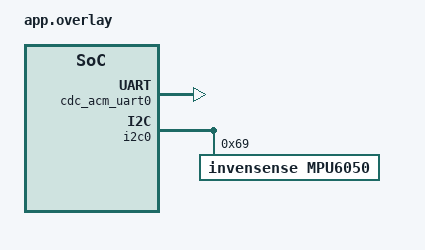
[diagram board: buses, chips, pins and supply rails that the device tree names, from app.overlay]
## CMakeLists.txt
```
cmake_minimum_required(VERSION 3.13.1)
set(CMAKE_CXX_STANDARD 11)
set(CMAKE_CXX_STANDARD_REQUIRED ON)


find_package(Zephyr REQUIRED HINTS $ENV{ZEPHYR_BASE})
project(wireless_wizard_wand VERSION 1.0.0)

zephyr_compile_options(-fdiagnostics-color=always)
include_directories(src/include)
target_sources(app PRIVATE src/main.cpp src/ei.cpp src/imu.cpp src/forwarder.cpp src/zigbee.c src/led_indication.c)

add_definitions(-DEIDSP_USE_CMSIS_DSP=1
                -DEIDSP_LOAD_CMSIS_DSP_SOURCES=1
                -DEI_CLASSIFIER_TFLITE_ENABLE_CMSIS_NN=1
                -DARM_MATH_LOOPUNROLL)

include(edge-impulse-sdk/cmake/utils.cmake)
add_subdirectory(edge-impulse-sdk/cmake/zephyr)

RECURSIVE_FIND_FILE_APPEND(MODEL_SOURCE "tflite-model" "*.cpp")
target_include_directories(app PRIVATE .)
target_include_directories(app PRIVATE src/include)
target_include_directories(app PRIVATE edge-impulse-sdk/classifier)

# add all sources to the project
target_sources(app PRIVATE ${MODEL_SOURCE})
```

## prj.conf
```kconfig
# Hardware
CONFIG_SENSOR=y
CONFIG_I2C=y
CONFIG_GPIO=y
# CONFIG_MPU6050_TRIGGER_NONE=n

# UART over USB
CONFIG_USB_DEVICE_STACK=y
CONFIG_USB_DEVICE_PRODUCT="Wireless Wizard Wand"
CONFIG_USB_DEVICE_PID=0x0004
CONFIG_USB_DEVICE_INITIALIZE_AT_BOOT=n

CONFIG_SERIAL=y
CONFIG_CONSOLE=y
CONFIG_UART_CONSOLE=y
CONFIG_UART_LINE_CTRL=y

# Logging
CONFIG_LOG=y
CONFIG_LOG_BACKEND_UART=y
CONFIG_FPU=y

# Edge impulse & CPP
CONFIG_CPLUSPLUS=y
CONFIG_LIB_CPLUSPLUS=y
CONFIG_NEWLIB_LIBC=y
CONFIG_NEWLIB_LIBC_FLOAT_PRINTF=y
CONFIG_MAIN_STACK_SIZE=8192
CONFIG_EXCEPTIONS=y

# Zigbee
CONFIG_ZIGBEE=y
CONFIG_ZIGBEE_APP_UTILS=y
CONFIG_ZIGBEE_ROLE_END_DEVICE=y
CONFIG_ZIGBEE_CHANNEL=20


# This example requires more workqueue stack
CONFIG_SYSTEM_WORKQUEUE_STACK_SIZE=2048

# Enable API for powering down unused RAM parts
CONFIG_RAM_POWER_DOWN_LIBRARY=y

# Networking
CONFIG_NET_IPV6=n
CONFIG_NET_IP_ADDR_CHECK=n
CONFIG_NET_UDP=n

# Enable nRF ECB driver
CONFIG_CRYPTO=y
CONFIG_CRYPTO_NRF_ECB=y
CONFIG_CRYPTO_INIT_PRIORITY=80
```

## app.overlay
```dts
/*
* Wireless Wizard Wand
*
* Configured for Adafruit Feather nRF52840 Express
*/

/ {
  chosen {
    zephyr,console = &cdc_acm_uart0;
  };
};

&zephyr_udc0 {
cdc_acm_uart0: cdc_acm_uart0 {
                 compatible = "zephyr,cdc-acm-uart";
               };
};

&i2c0 {
	status = "okay";
	mpu6050@69 {
		compatible = "invensense,mpu6050";
		reg = <0x69>;
		status = "okay";
		//int-gpios = <&gpio0 11 GPIO_ACTIVE_HIGH>;
	};
};
```

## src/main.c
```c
/*
 * Copyright (c) 2012-2014 Wind River Systems, Inc.
 *
 * SPDX-License-Identifier: Apache-2.0
 */

#include <zephyr/kernel.h>
#include <zephyr/usb/usb_device.h>
#include <zephyr/device.h>
#include <zephyr/drivers/sensor.h>

int main(void)
{
  usb_enable(NULL);
	const struct device *const dev = DEVICE_DT_GET_ONE(bosch_bmi270);
	struct sensor_value acc[3], gyr[3];
	struct sensor_value full_scale, sampling_freq, oversampling;

	if (!device_is_ready(dev)) {
		printk("Device %s is not ready\n", dev->name);
		return 0;
	}


	printk("Device %p name is %s%s\n", dev, dev->name,"\U00002705");

	/* Setting scale in G, due to loss of precision if the SI unit m/s^2
	 * is used
	 */
	full_scale.val1 = 2;            /* G */
	full_scale.val2 = 0;
	sampling_freq.val1 = 100;       /* Hz. Performance mode */
	sampling_freq.val2 = 0;
	oversampling.val1 = 1;          /* Normal mode */
	oversampling.val2 = 0;

	sensor_attr_set(dev, SENSOR_CHAN_ACCEL_XYZ, SENSOR_ATTR_FULL_SCALE,
			&full_scale);
	sensor_attr_set(dev, SENSOR_CHAN_ACCEL_XYZ, SENSOR_ATTR_OVERSAMPLING,
			&oversampling);
	/* Set sampling frequency last as this also sets the appropriate
	 * power mode. If already sampling, change to 0.0Hz before changing
	 * other attributes
	 */
	sensor_attr_set(dev, SENSOR_CHAN_ACCEL_XYZ,
			SENSOR_ATTR_SAMPLING_FREQUENCY,
			&sampling_freq);


	/* Setting scale in degrees/s to match the sensor scale */
	full_scale.val1 = 500;          /* dps */
	full_scale.val2 = 0;
	sampling_freq.val1 = 100;       /* Hz. Performance mode */
	sampling_freq.val2 = 0;
	oversampling.val1 = 1;          /* Normal mode */
	oversampling.val2 = 0;

	sensor_attr_set(dev, SENSOR_CHAN_GYRO_XYZ, SENSOR_ATTR_FULL_SCALE,
			&full_scale);
	sensor_attr_set(dev, SENSOR_CHAN_GYRO_XYZ, SENSOR_ATTR_OVERSAMPLING,
			&oversampling);
	/* Set sampling frequency last as this also sets the appropriate
	 * power mode. If already sampling, change sampling frequency to
	 * 0.0Hz before changing other attributes
	 */
	sensor_attr_set(dev, SENSOR_CHAN_GYRO_XYZ,
			SENSOR_ATTR_SAMPLING_FREQUENCY,
			&sampling_freq);
	while (1) {
		/* 10ms period, 100Hz Sampling frequency */
		k_sleep(K_MSEC(10));

		sensor_sample_fetch(dev);

		sensor_channel_get(dev, SENSOR_CHAN_ACCEL_XYZ, acc);
		sensor_channel_get(dev, SENSOR_CHAN_GYRO_XYZ, gyr);
		printk("\U0001F5FF AX: %d.%06d; AY: %d.%06d; AZ: %d.%06d;\n ",
		       acc[0].val1, acc[0].val2,
		       acc[1].val1, acc[1].val2,
		       acc[2].val1, acc[2].val2);
	}
	return 0;
}
```

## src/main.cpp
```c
#include <zephyr/kernel.h>
#include <zephyr/logging/log.h>
#include <zephyr/device.h>
#include <zephyr/drivers/sensor.h>
#include <zephyr/usb/usb_device.h>
#include "imu.h"
#include "ei.h"
#include "forwarder.h"
#include "zigbee.h"
#include "led_indication.h"

#define STARTUP_DELAY_MS 2000

LOG_MODULE_REGISTER(main, LOG_LEVEL_INF);

int main(void){
  usb_enable(NULL);
  k_sleep(K_MSEC(STARTUP_DELAY_MS));
  LOG_INF("Wireless Wizard Wand started on %s", CONFIG_BOARD);
  imu_init();
  k_zigbee();
	k_sleep(K_FOREVER);
}
```

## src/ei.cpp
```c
#include <zephyr/kernel.h>
#include <zephyr/usb/usb_device.h>
#include <zephyr/drivers/sensor.h>
#include <zephyr/logging/log.h>
#include <zephyr/sys/mutex.h>

#include <stdio.h>
#include <stdlib.h>
#include <stdbool.h>

#include "imu.h"
#include "zigbee.h"
#include "ei_run_classifier.h"
#include "ei.h"

#define SAMPLE_TIME_MINIMUM (((EI_CLASSIFIER_DSP_INPUT_FRAME_SIZE/IMU_AXIS_SAMPLED))*(TIME_BETWEEN_SAMPLES_US))
#define SAMPLING_TIME_LIMIT_US SAMPLE_TIME_MINIMUM*2

LOG_MODULE_REGISTER(edge_impulse, LOG_LEVEL_INF);
K_THREAD_DEFINE(ei_thread, EI_STACK_SIZE, k_ei,
                NULL, NULL, NULL,
                EI_THREAD_PRIORITY, 0, 0);
K_MUTEX_DEFINE(feature_buffer_mutex);

// to classify 1 frame of data you need EI_CLASSIFIER_DSP_INPUT_FRAME_SIZE values
struct FeatureBuffer {
  int index;
  bool is_full;
  float buffer[EI_CLASSIFIER_DSP_INPUT_FRAME_SIZE];
};

//Forward declarations
static void dummy_ei_result_cb(ei_impulse_result_t *result);
static void ei_event_handler(bool timeout, ei_impulse_result_t *result, FeatureBuffer *f_buff);
static bool ei_classify(FeatureBuffer *f_buff, ei_impulse_result_t *result);
static bool ei_sampling_timeout();
static void ei_log_predictions(ei_impulse_result_t *result);
static bool copy_to_features_buffer(float* sample, FeatureBuffer *f_buff);
static void clear_feature_buffer(FeatureBuffer *f_buff);


FeatureBuffer features = {0, false}; //Global shared buffer

//Chest variables

static int calm_circle_count = 0;
static int calm_wiper_count = 0;
static int detection_trigger_limit = 2;

int k_ei() {
  LOG_INF("Started Edge Impulse thread");
  while (1) {
    ei_impulse_result_t result = { 0 };
    clear_feature_buffer(&features);
    imu_start_sampling_w_ei(TIME_BETWEEN_SAMPLES_US);
    ei_event_handler(ei_sampling_timeout(), &result, &features);
  }
}

static void ei_event_handler(bool timeout, ei_impulse_result_t *result, FeatureBuffer *f_buff){
  if (!timeout && ei_classify(f_buff, result)){
    ei_log_predictions(result);
    dummy_ei_result_cb(result);
  }
}

static bool ei_sampling_timeout(){
  if(k_sleep(K_USEC(SAMPLING_TIME_LIMIT_US)) == 0){
    LOG_ERR("Sampling timed out");
    return true;
  }
  return false;
}

static void dummy_ei_result_cb(ei_impulse_result_t *result){
  LOG_DBG("WARNING: calling DUMMY MODULE, do not deploy.");
  if (result->classification[2].value > (float)0.99){
    calm_circle_count = 0;
    calm_wiper_count = 0;

  }
  if(result->classification[3].value > (float)0.99){
    calm_circle_count = 0;
    calm_wiper_count = 0;
  }
  if (result->classification[0].value > (float)0.99){
    calm_wiper_count = 0;
    calm_circle_count += 1;
    if (calm_circle_count >= detection_trigger_limit){
      send_light_on();
      calm_circle_count = 0;
    }
  }
  if(result->classification[1].value > (float)0.99){
    calm_circle_count = 0;
    calm_wiper_count += 1;
    if (calm_wiper_count >= detection_trigger_limit){
      send_light_off();
      calm_wiper_count = 0;
    }
  }

}

static bool ei_classify(FeatureBuffer *f_buff, ei_impulse_result_t *result){
  k_mutex_lock(&feature_buffer_mutex, K_FOREVER);
  // create signal from features frame
  signal_t signal;
  numpy::signal_from_buffer(f_buff->buffer, EI_CLASSIFIER_DSP_INPUT_FRAME_SIZE, &signal);
  EI_IMPULSE_ERROR res = run_classifier(&signal, result, false);
  LOG_DBG("run_classifier returned: %d\n", res);
  if(res != 0){
    LOG_ERR("run_classifier failed");
    k_mutex_unlock(&feature_buffer_mutex);
    return false;
  }
  k_mutex_unlock(&feature_buffer_mutex);
  return true;
}

static void ei_log_predictions(ei_impulse_result_t *result){
  LOG_DBG("Predictions (DSP: %d ms., Classification: %d ms., Anomaly: %d ms.): \n",
        result->timing.dsp, result->timing.classification, result->timing.anomaly);
  for (size_t ix = 0; ix < EI_CLASSIFIER_LABEL_COUNT; ix++) {
    LOG_DBG("%s:\t%.5f\n", result->classification[ix].label, result->classification[ix].value);
  }
  #if EI_CLASSIFIER_HAS_ANOMALY == 1
    LOG_INF("anomaly:\t%.3f\n", result->anomaly);
  #endif
}

bool ei_fill_feature_buffer_cb(float* sample){
  if (k_mutex_lock(&feature_buffer_mutex, K_MSEC(SHARED_BUFFER_MUTEX_TIMEOUT)) == 0){ //Avoid deadlock
    bool ret = copy_to_features_buffer(sample, &features);
    if(ret == true){
      LOG_DBG("Buffer full");
      k_wakeup(ei_thread);
    }
    k_mutex_unlock(&feature_buffer_mutex);
    return ret;
  } else {
    LOG_ERR("Cannot lock feature buffer mutex");
    return false; //Since buffer is not written to, buffer is not filled
  }
}

static bool copy_to_features_buffer(float* sample, FeatureBuffer *f_buff){
  if (f_buff->is_full){
    return true;
  }
  f_buff->buffer[f_buff->index + 0] = sample[0];
  f_buff->buffer[f_buff->index + 1] = sample[1];
  f_buff->buffer[f_buff->index + 2] = sample[2];

  f_buff->index += EI_CLASSIFIER_RAW_SAMPLES_PER_FRAME;

  if(f_buff->index >= EI_CLASSIFIER_DSP_INPUT_FRAME_SIZE){
    f_buff->is_full = true;
    return true; //Buffer is now full
  }
  return false; //Buffer is not full
}

//Clears the feature buffer for overwriting
static void clear_feature_buffer(FeatureBuffer *f_buff){
  f_buff->index = 0;
  f_buff->is_full = false;
}
```

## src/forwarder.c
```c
#include <zephyr/kernel.h>
#include <zephyr/logging/log.h>
#include <zephyr/drivers/sensor.h>
#include <stdio.h>
#include "imu.h"
#include "forwarder.h"

LOG_MODULE_REGISTER(data_forwarder, LOG_LEVEL_INF);

int k_forwarder(){
  LOG_DBG("Started Data Forwarder module");
  // No buffering
  setvbuf(stdout, NULL, _IONBF, 0);
  struct sensor_value imu_acceleration[3];
	while (1) {
		// Wait between samples
		struct k_timer next_val_timer;
    k_timer_init(&next_val_timer, NULL, NULL);
    k_timer_start(&next_val_timer, K_USEC(TIME_BETWEEN_SAMPLES_US), K_NO_WAIT);
    
    imu_get_acceleration(imu_acceleration);
		printf("%.6f\t%.6f\t%.6f\t\r\n ",
		        sensor_value_to_double(&imu_acceleration[0]),
		        sensor_value_to_double(&imu_acceleration[1]),
            sensor_value_to_double(&imu_acceleration[2]));
    //Wait
    while (k_timer_status_get(&next_val_timer) <= 0);
	}
	return 0;
}
```

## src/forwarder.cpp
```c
#include <zephyr/kernel.h>
#include <zephyr/logging/log.h>
#include <zephyr/drivers/sensor.h>
#include <stdio.h>
#include "imu.h"
#include "forwarder.h"

LOG_MODULE_REGISTER(data_forwarder, LOG_LEVEL_INF);

int k_forwarder(){
  LOG_DBG("Started Data Forwarder module");
  // No buffering
  setvbuf(stdout, NULL, _IONBF, 0);
  imu_start_sampling(TIME_BETWEEN_SAMPLES_US);    
  imu_set_printf_data(true);
  k_sleep(K_FOREVER);
  return 0;
}
```

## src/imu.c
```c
#include <zephyr/kernel.h>
#include <zephyr/drivers/sensor.h>
#include <zephyr/logging/log.h>
#include <stdio.h>
#include <imu.h>

LOG_MODULE_REGISTER(imu, LOG_LEVEL_INF);

static const struct device *imu_dev;

//Prototypes for readability
static void imu_configure();
static void imu_sample_accel();

//Get IMU acceleration
void imu_get_acceleration(struct sensor_value* value){ //May need error handling
  imu_sample_accel();
  sensor_channel_get(imu_dev, SENSOR_CHAN_ACCEL_XYZ, value);
}

//Update IMU acceleration sample
static void imu_sample_accel(){
  int err;
  err = sensor_sample_fetch(imu_dev);
  if(err < 0){
    LOG_ERR("BMI270 Sensor sample accelerometer update error\n");
  }
}

//Initialise IMU
void imu_init(){
    imu_dev = DEVICE_DT_GET_ONE(bosch_bmi270);
    if (imu_dev == NULL) {
        LOG_ERR("Could not get BMI270 device\n");
    }
    imu_configure();
    LOG_INF("IMU Initialized");
}

static void imu_configure(){
  struct sensor_value full_scale, imu_sampling_freq, oversampling;
  //Set sensor configuration
  full_scale.val1 = 2; //G
  full_scale.val2 = 0;
  imu_sampling_freq.val1 = SAMPLING_FREQ; //Hz
  imu_sampling_freq.val2 = 0;
  oversampling.val1 = 1; // BMI270: Normal Mode
  oversampling.val2 = 0;

  sensor_attr_set(imu_dev, SENSOR_CHAN_ACCEL_XYZ, SENSOR_ATTR_FULL_SCALE,
      &full_scale);
  sensor_attr_set(imu_dev, SENSOR_CHAN_ACCEL_XYZ, SENSOR_ATTR_OVERSAMPLING,
      &oversampling);
  //Set sampling frequency also sets power mode
  sensor_attr_set(imu_dev, SENSOR_CHAN_ACCEL_XYZ, SENSOR_ATTR_SAMPLING_FREQUENCY,
      &imu_sampling_freq);

}
```

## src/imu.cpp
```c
#include <zephyr/kernel.h>
#include <zephyr/drivers/sensor.h>
#include <zephyr/logging/log.h>
#include <stdio.h>
#include <stdbool.h>

#include "imu.h"
#include "ei.h"

LOG_MODULE_REGISTER(imu_sensor, LOG_LEVEL_INF);

static const struct device *imu_dev;
float imu_data[IMU_AXIS_SAMPLED];
static bool imu_is_init = IMU_DEFAULT_IS_INIT; 
static bool imu_is_printf_data = IMU_DEFAULT_IS_PRINTF_DATA;
static bool imu_is_buffering_to_ei = IMU_DEFAULT_BUFFER_TO_EI;

//Forward declarations
static bool imu_configure();
static bool imu_fetch_sample_accel();
static void imu_timer_handler(struct k_timer *dummy);
static void imu_work_handler(struct k_work *work);
static void imu_set_buffering_to_ei(bool state);
static void imu_buffer_to_ei_handler(void);
static void imu_printf_data(void);

K_TIMER_DEFINE(imu_timer, imu_timer_handler, NULL);
K_WORK_DEFINE(imu_work, imu_work_handler);

//Submit work to sample for each time period
static void imu_timer_handler(struct k_timer *dummy){
  k_work_submit(&imu_work);
}

static void imu_work_handler(struct k_work *work){
	if(imu_fetch_sample_accel() == false) { //Fetch sample
    imu_data[0] = 0.0f;
    imu_data[1] = 0.0f;
    imu_data[2] = 0.0f;
	}
  
  if (imu_is_buffering_to_ei) imu_buffer_to_ei_handler();
  if (imu_is_printf_data) imu_printf_data();
}

static void imu_buffer_to_ei_handler(){
  if (ei_fill_feature_buffer_cb(imu_data) == true){ //Pass imu_data to EI
    imu_set_buffering_to_ei(false);
    imu_stop_sampling();
  }
}

bool imu_start_sampling_w_ei(float timer_period_us){
  imu_set_buffering_to_ei(true);
  return imu_start_sampling(timer_period_us);
}



bool imu_start_sampling(float timer_period_us){
  //Start timer with given period and expire on given period
  k_timer_start(&imu_timer, K_USEC(timer_period_us), K_USEC(timer_period_us));
  return true;
}

bool imu_stop_sampling(){
  k_timer_stop(&imu_timer);
  return true;
}

//Update IMU acceleration sample
static bool imu_fetch_sample_accel(){
  struct sensor_value raw_sample[IMU_AXIS_SAMPLED];
  if (imu_is_init == false){
    LOG_ERR("IMU Initialization error");
    return false;
  }

  if (sensor_sample_fetch(imu_dev) < 0){
    LOG_ERR("MPU6050 Sample fetch error");
    return false;
  }

  if (sensor_channel_get(imu_dev, SENSOR_CHAN_ACCEL_XYZ, raw_sample) < 0){
    LOG_ERR("Sensor Channel Get Error: Failed to get acceleration readings");
    return false;
  }
  // !! Conversion to float is done here because of low sampling period in application
  imu_data[0] = (float)sensor_value_to_double(&raw_sample[0]);
  imu_data[1] = (float)sensor_value_to_double(&raw_sample[1]);
  imu_data[2] = (float)sensor_value_to_double(&raw_sample[2]);

  return true;
}


//Initialise IMU
bool imu_init(){
  imu_dev = DEVICE_DT_GET_ONE(invensense_mpu6050);
  if (imu_dev == NULL) {
    LOG_ERR("Could not get MPU6050 device");
    return false;
  }
  int ret = imu_configure();
  if (ret == false){
    LOG_ERR("IMU Configuration Failed");
    return false;
  }
  imu_is_init = true;
  LOG_INF("IMU Initialized");
  return true;
}


static bool imu_configure(){

  if (1){
    LOG_INF("IMU Configuration: None");

    return true;
  } else {
    return false;
  }
}

// Utilities
static void imu_printf_data(){
  printf("%.6f\t%.6f\t%.6f\t\r\n ",
          imu_data[0],
          imu_data[1],
          imu_data[2]); 
}

void imu_set_printf_data(bool val){
  LOG_INF("IMU Print Data: %d", val);
  imu_is_printf_data = val; 
}

static void imu_set_buffering_to_ei(bool state){
  imu_is_buffering_to_ei = state;
}
```

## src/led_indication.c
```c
#include <zephyr/kernel.h>
#include <zephyr/drivers/gpio.h>
#include <zephyr/logging/log.h>
#include "led_indication.h"
#define RED_LED DT_ALIAS(led0)
#define BLUE_LED DT_ALIAS(led1)

static const struct gpio_dt_spec red_led = GPIO_DT_SPEC_GET(RED_LED, gpios);
static const struct gpio_dt_spec conn_led = GPIO_DT_SPEC_GET(BLUE_LED, gpios);

int leds_init(void){
  int err;
  err = gpio_pin_configure_dt(&red_led, GPIO_OUTPUT_ACTIVE);
  err += gpio_pin_configure_dt(&conn_led, GPIO_OUTPUT_ACTIVE);
  if (err < 0) return 0;
  return err;
}

int conn_led_set(int value){
  int ret;
  if (!gpio_is_ready_dt(&conn_led)){
    return 0;
  }
  ret = gpio_pin_set_dt(&conn_led, value);
}

int conn_led_toggle(){
  int ret;
  if (!gpio_is_ready_dt(&conn_led)){
    return 0;
  }
  ret = gpio_pin_toggle_dt(&conn_led);
  return ret;

}

int red_led_set(int value){
  int ret;
  if (!gpio_is_ready_dt(&red_led)){
    return 0;
  }
  ret = gpio_pin_set_dt(&red_led, value);
}

int red_led_toggle(){
  int ret;
  if (!gpio_is_ready_dt(&red_led)){
    return 0;
  }
  ret = gpio_pin_toggle_dt(&red_led);
  return ret;

}
```

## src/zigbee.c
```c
#include <zephyr/kernel.h>
#include <zephyr/device.h>
#include <zephyr/logging/log.h>
#include <ram_pwrdn.h>

#include <zboss_api.h>
#include <zboss_api_addons.h>
#include <zigbee/zigbee_app_utils.h>
#include <zigbee/zigbee_error_handler.h>
#include <zb_nrf_platform.h>

#include "zigbee_memconfig.h"
#include "zigbee_dimmer.h"
#include "zigbee.h"
#include "led_indication.h"


LOG_MODULE_REGISTER(app, LOG_LEVEL_INF);

struct bulb_context {
	zb_uint8_t endpoint;
	zb_uint16_t short_addr;
	struct k_timer find_alarm;
};

struct buttons_context {
	uint32_t state;
	atomic_t long_poll;
	struct k_timer alarm;
};

struct zb_device_ctx {
	zb_zcl_basic_attrs_t basic_attr;
	zb_zcl_identify_attrs_t identify_attr;
};

static struct bulb_context bulb_ctx;
static struct buttons_context buttons_ctx;
static struct zb_device_ctx dev_ctx;

//Declare attribute list for Basic cluster (server). 
ZB_ZCL_DECLARE_BASIC_SERVER_ATTRIB_LIST(
	basic_server_attr_list,
	&dev_ctx.basic_attr.zcl_version,
	&dev_ctx.basic_attr.power_source);

//Declare attribute list for Identify cluster (client). 
ZB_ZCL_DECLARE_IDENTIFY_CLIENT_ATTRIB_LIST(
	identify_client_attr_list);

//Declare attribute list for Identify cluster (server). 
ZB_ZCL_DECLARE_IDENTIFY_SERVER_ATTRIB_LIST(
	identify_server_attr_list,
	&dev_ctx.identify_attr.identify_time);

//Declare attribute list for Scenes cluster (client). 
ZB_ZCL_DECLARE_SCENES_CLIENT_ATTRIB_LIST(
	scenes_client_attr_list);

//Declare attribute list for Groups cluster (client). 
ZB_ZCL_DECLARE_GROUPS_CLIENT_ATTRIB_LIST(
	groups_client_attr_list);

//Declare attribute list for On/Off cluster (client). 
ZB_ZCL_DECLARE_ON_OFF_CLIENT_ATTRIB_LIST(
	on_off_client_attr_list);

//Declare attribute list for Level control cluster (client). 
ZB_ZCL_DECLARE_LEVEL_CONTROL_CLIENT_ATTRIB_LIST(
	level_control_client_attr_list);

//Declare cluster list for Dimmer Switch device. 
ZB_DECLARE_DIMMER_SWITCH_CLUSTER_LIST(
	dimmer_switch_clusters,
	basic_server_attr_list,
	identify_client_attr_list,
	identify_server_attr_list,
	scenes_client_attr_list,
	groups_client_attr_list,
	on_off_client_attr_list,
	level_control_client_attr_list);

//Declare endpoint for Dimmer Switch device. 
ZB_DECLARE_DIMMER_SWITCH_EP(
	dimmer_switch_ep,
	LIGHT_SWITCH_ENDPOINT,
	dimmer_switch_clusters);

//Declare application's device context (list of registered endpoints)for Dimmer Switch device.
ZBOSS_DECLARE_DEVICE_CTX_1_EP(dimmer_switch_ctx, dimmer_switch_ep);

//Forward declarations. 
static void light_switch_button_handler(struct k_timer *timer);
static void find_light_bulb_alarm(struct k_timer *timer);
static void find_light_bulb(zb_bufid_t bufid);
static void light_switch_send_on_off(zb_bufid_t bufid, zb_uint16_t on_off);

///Starts identifying the device.
static void start_identifying(zb_bufid_t bufid)
{
	ZVUNUSED(bufid);

	if (ZB_JOINED()) {
		//Check if endpoint is in identifying mode, if not, put desired endpoint in identifying mode.
		 
		if (dev_ctx.identify_attr.identify_time ==
		    ZB_ZCL_IDENTIFY_IDENTIFY_TIME_DEFAULT_VALUE) {

			zb_ret_t zb_err_code = zb_bdb_finding_binding_target(LIGHT_SWITCH_ENDPOINT);

			if (zb_err_code == RET_OK) {
				LOG_INF("Enter identify mode");
			} else if (zb_err_code == RET_INVALID_STATE) {
				LOG_WRN("RET_INVALID_STATE - Cannot enter identify mode");
			} else {
				ZB_ERROR_CHECK(zb_err_code);
			}
		} else {
			LOG_INF("Cancel identify mode");
			zb_bdb_finding_binding_target_cancel();
		}
	} else {
		LOG_WRN("Device not in a network - cannot enter identify mode");
	}
}

// Callback for button events.
static void button_handler(uint32_t button_state, uint32_t has_changed)
{
	zb_uint16_t cmd_id;
	zb_ret_t zb_err_code;

	//Inform default signal handler about user input at the device. 
	user_input_indicate();


	if (bulb_ctx.short_addr == 0xFFFF) {
		LOG_DBG("No bulb found yet.");
		return;
	}
}

static void alarm_timers_init(void)
{
	k_timer_init(&buttons_ctx.alarm, light_switch_button_handler, NULL);
	k_timer_init(&bulb_ctx.find_alarm, find_light_bulb_alarm, NULL);
}

// Function for initializing all clusters attributes. 
static void app_clusters_attr_init(void)
{
	//Basic cluster attributes data. 
	dev_ctx.basic_attr.zcl_version = ZB_ZCL_VERSION;
	dev_ctx.basic_attr.power_source = ZB_ZCL_BASIC_POWER_SOURCE_UNKNOWN;

	//Identify cluster attributes data. 
	dev_ctx.identify_attr.identify_time = ZB_ZCL_IDENTIFY_IDENTIFY_TIME_DEFAULT_VALUE;
}

static void toggle_identify_led(zb_bufid_t bufid)
{
	static int blink_status;
  conn_led_toggle();
	ZB_SCHEDULE_APP_ALARM(toggle_identify_led, bufid, ZB_MILLISECONDS_TO_BEACON_INTERVAL(100));
}

/// Function to handle identify notification events on the first endpoint.
static void identify_cb(zb_bufid_t bufid)
{
	zb_ret_t zb_err_code;

	if (bufid) {
		//Schedule a self-scheduling function that will toggle the LED. 
		ZB_SCHEDULE_APP_CALLBACK(toggle_identify_led, bufid);
	} else {
		//Cancel the toggling function alarm and turn off LED. 
		zb_err_code = ZB_SCHEDULE_APP_ALARM_CANCEL(toggle_identify_led, ZB_ALARM_ANY_PARAM);
		ZVUNUSED(zb_err_code);

		// Update network status LED
		if (ZB_JOINED()) {
      conn_led_set(LED_ON);
		} else {
      conn_led_set(LED_OFF);
		}
	}
}

// Function for sending ON/OFF requests to the light bulb.
static void light_switch_send_on_off(zb_bufid_t bufid, zb_uint16_t cmd_id)
{
	LOG_INF("Send ON/OFF command: %d", cmd_id);

	ZB_ZCL_ON_OFF_SEND_REQ(bufid,
			       bulb_ctx.short_addr,
			       ZB_APS_ADDR_MODE_16_ENDP_PRESENT,
			       bulb_ctx.endpoint,
			       LIGHT_SWITCH_ENDPOINT,
			       ZB_AF_HA_PROFILE_ID,
			       ZB_ZCL_DISABLE_DEFAULT_RESPONSE,
			       cmd_id,
			       NULL);
}

// Function for sending step requests to the light bulb.
static void light_switch_send_step(zb_bufid_t bufid, zb_uint16_t cmd_id)
{
	LOG_INF("Send step level command: %d", cmd_id);

	ZB_ZCL_LEVEL_CONTROL_SEND_STEP_REQ(bufid,
					   bulb_ctx.short_addr,
					   ZB_APS_ADDR_MODE_16_ENDP_PRESENT,
					   bulb_ctx.endpoint,
					   LIGHT_SWITCH_ENDPOINT,
					   ZB_AF_HA_PROFILE_ID,
					   ZB_ZCL_DISABLE_DEFAULT_RESPONSE,
					   NULL,
					   cmd_id,
					   DIMM_STEP,
					   DIMM_TRANSACTION_TIME);
}

// Callback function receiving finding procedure results.
static void find_light_bulb_cb(zb_bufid_t bufid)
{
	//Get the beginning of the response. 
	zb_zdo_match_desc_resp_t *resp =
		(zb_zdo_match_desc_resp_t *) zb_buf_begin(bufid);
	//Get the pointer to the parameters buffer, which stores APS layer response.
	 
	zb_apsde_data_indication_t *ind = ZB_BUF_GET_PARAM(bufid,
							   zb_apsde_data_indication_t);
	zb_uint8_t *match_ep;

	if ((resp->status == ZB_ZDP_STATUS_SUCCESS) &&
	    (resp->match_len > 0) &&
	    (bulb_ctx.short_addr == 0xFFFF)) {

		//Match EP list follows right after response header. 
		match_ep = (zb_uint8_t *)(resp + 1);

		//We are searching for exact cluster, so only 1 EP may be found.
		bulb_ctx.endpoint = *match_ep;
		bulb_ctx.short_addr = ind->src_addr;

		LOG_INF("Found bulb addr: %d ep: %d",
			bulb_ctx.short_addr,
			bulb_ctx.endpoint);

		k_timer_stop(&bulb_ctx.find_alarm);
    red_led_set(LED_ON);
	} else {
		LOG_INF("Bulb not found, try again");
	}

	if (bufid) {
		zb_buf_free(bufid);
	}
}

// Find bulb alarm handler.
static void find_light_bulb_alarm(struct k_timer *timer)
{
	ZB_ERROR_CHECK(zb_buf_get_out_delayed(find_light_bulb));
}

// Function for sending ON/OFF and Level Control find request.
static void find_light_bulb(zb_bufid_t bufid)
{
  // Set red led off to indicate no bulb connected
  red_led_set(LED_OFF);
	zb_zdo_match_desc_param_t *req;
	zb_uint8_t tsn = ZB_ZDO_INVALID_TSN;

	//Initialize pointers inside buffer and reserve space for zb_zdo_match_desc_param_t request.
	req = zb_buf_initial_alloc(bufid,
				   sizeof(zb_zdo_match_desc_param_t) + (1) * sizeof(zb_uint16_t));

	req->nwk_addr = MATCH_DESC_REQ_ROLE;
	req->addr_of_interest = MATCH_DESC_REQ_ROLE;
	req->profile_id = ZB_AF_HA_PROFILE_ID;

	//We are searching for 2 clusters: On/Off and Level Control Server. 
	req->num_in_clusters = 2;
	req->num_out_clusters = 0;
	req->cluster_list[0] = ZB_ZCL_CLUSTER_ID_ON_OFF;
	req->cluster_list[1] = ZB_ZCL_CLUSTER_ID_LEVEL_CONTROL;

	//Set 0xFFFF to reset short address in order to parse only one response.
	bulb_ctx.short_addr = 0xFFFF;
	tsn = zb_zdo_match_desc_req(bufid, find_light_bulb_cb);

	//Free buffer if failed to send a request. 
	if (tsn == ZB_ZDO_INVALID_TSN) {
		zb_buf_free(bufid);

		LOG_ERR("Failed to send Match Descriptor request");
	}
}

// Callback for detecting button press duration.
static void light_switch_button_handler(struct k_timer *timer)
{
	zb_ret_t zb_err_code;
	zb_uint16_t cmd_id;

}

// Zigbee stack event handler
void zboss_signal_handler(zb_bufid_t bufid)
{
	zb_zdo_app_signal_hdr_t *sig_hndler = NULL;
	zb_zdo_app_signal_type_t sig = zb_get_app_signal(bufid, &sig_hndler);
	zb_ret_t status = ZB_GET_APP_SIGNAL_STATUS(bufid);

	switch (sig) {
	case ZB_BDB_SIGNAL_DEVICE_REBOOT:
	//fall-through 
	case ZB_BDB_SIGNAL_STEERING:
		//Call default signal handler. 
		ZB_ERROR_CHECK(zigbee_default_signal_handler(bufid));
		if (status == RET_OK) {
			//Check the light device address. 
			if (bulb_ctx.short_addr == 0xFFFF) {
				k_timer_start(&bulb_ctx.find_alarm,
					      MATCH_DESC_REQ_START_DELAY,
					      MATCH_DESC_REQ_TIMEOUT);
			}
		}
		break;
	case ZB_ZDO_SIGNAL_LEAVE:
		//If device leaves the network, reset bulb short_addr. 
		if (status == RET_OK) {
			zb_zdo_signal_leave_params_t *leave_params =
				ZB_ZDO_SIGNAL_GET_PARAMS(sig_hndler, zb_zdo_signal_leave_params_t);

			if (leave_params->leave_type == ZB_NWK_LEAVE_TYPE_RESET) {
				bulb_ctx.short_addr = 0xFFFF;
			}
		}
		//Call default signal handler. 
		ZB_ERROR_CHECK(zigbee_default_signal_handler(bufid));
		break;

	default:
		//Call default signal handler. 
		ZB_ERROR_CHECK(zigbee_default_signal_handler(bufid));
		break;
	}

	if (bufid) {
		zb_buf_free(bufid);
	}
}

void send_light_off(void){
      zb_buf_get_out_delayed_ext(light_switch_send_on_off,
				   ZB_ZCL_CMD_ON_OFF_OFF_ID, 0);
}

void send_light_on(void){
      zb_buf_get_out_delayed_ext(light_switch_send_on_off,
				   ZB_ZCL_CMD_ON_OFF_ON_ID, 0);
}

void send_light_dimm_up(void){
  zb_buf_get_out_delayed_ext(light_switch_send_step,
							 ZB_ZCL_LEVEL_CONTROL_STEP_MODE_UP,
							 0);
}

void send_light_dimm_down(void){
  zb_buf_get_out_delayed_ext(light_switch_send_step,
							 ZB_ZCL_LEVEL_CONTROL_STEP_MODE_DOWN,
							 0);
}

int k_zigbee(void)
{
	LOG_INF("Initializing Zigbee");

	//Initialize. 
	alarm_timers_init();
  leds_init();
	zigbee_erase_persistent_storage(ERASE_PERSISTENT_CONFIG);
	zb_set_ed_timeout(ED_AGING_TIMEOUT_64MIN);
	zb_set_keepalive_timeout(ZB_MILLISECONDS_TO_BEACON_INTERVAL(3000));

	//Set default bulb short_addr. 
	bulb_ctx.short_addr = 0xFFFF;


	//Register dimmer switch device context (endpoints). 
	ZB_AF_REGISTER_DEVICE_CTX(&dimmer_switch_ctx);

	app_clusters_attr_init();

	//Register handlers to identify notifications 
	ZB_AF_SET_IDENTIFY_NOTIFICATION_HANDLER(LIGHT_SWITCH_ENDPOINT, identify_cb);

	//Start Zigbee default thread. 
	zigbee_enable();
	LOG_INF("Zigbee thread started");
}
```

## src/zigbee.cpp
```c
#include <zephyr/kernel.h>
#include <zephyr/logging/log.h>
#include <zephyr/device.h>

/*
 * Copyright (c) 2020 Nordic Semiconductor ASA
 *
 * SPDX-License-Identifier: LicenseRef-Nordic-5-Clause
 */

/** @file
 * @brief Dimmer switch for HA profile implementation.
 */

#include <zephyr/kernel.h>
#include <zephyr/device.h>
#include <zephyr/logging/log.h>
#include <dk_buttons_and_leds.h>
#include <ram_pwrdn.h>

#include <zboss_api.h>
#include <zboss_api_addons.h>
#include <zigbee/zigbee_app_utils.h>
#include <zigbee/zigbee_error_handler.h>
#include <zb_nrf_platform.h>
#include "zb_mem_config_custom.h"
#include "zb_dimmer_switch.h"


/* Source endpoint used to control light bulb. */
#define LIGHT_SWITCH_ENDPOINT      1
/* Delay between the light switch startup and light bulb finding procedure. */
#define MATCH_DESC_REQ_START_DELAY K_SECONDS(2)
/* Timeout for finding procedure. */
#define MATCH_DESC_REQ_TIMEOUT     K_SECONDS(5)
/* Find only non-sleepy device. */
#define MATCH_DESC_REQ_ROLE        ZB_NWK_BROADCAST_RX_ON_WHEN_IDLE

/* Do not erase NVRAM to save the network parameters after device reboot or
 * power-off. NOTE: If this option is set to ZB_TRUE then do full device erase
 * for all network devices before running other samples.
 */
#define ERASE_PERSISTENT_CONFIG    ZB_FALSE
/* LED indicating that light switch successfully joind Zigbee network. */
#define ZIGBEE_NETWORK_STATE_LED   DK_LED3
/* LED used for device identification. */
#define IDENTIFY_LED               ZIGBEE_NETWORK_STATE_LED
/* LED indicating that light witch found a light bulb to control. */
#define BULB_FOUND_LED             DK_LED4
/* Button ID used to switch on the light bulb. */
#define BUTTON_ON                  DK_BTN1_MSK
/* Button ID used to switch off the light bulb. */
#define BUTTON_OFF                 DK_BTN2_MSK
/* Dim step size - increases/decreses current level (range 0x000 - 0xfe). */
#define DIMM_STEP                  15
/* Button ID used to enable sleepy behavior. */
#define BUTTON_SLEEPY              DK_BTN3_MSK

/* Button to start Factory Reset */
#define FACTORY_RESET_BUTTON       DK_BTN4_MSK

/* Button used to enter the Identify mode. */
#define IDENTIFY_MODE_BUTTON       DK_BTN4_MSK

/* Transition time for a single step operation in 0.1 sec units.
 * 0xFFFF - immediate change.
 */
#define DIMM_TRANSACTION_TIME      2

/* Time after which the button state is checked again to detect button hold,
 * the dimm command is sent again.
 */
#define BUTTON_LONG_POLL_TMO       K_MSEC(500)

#if !defined ZB_ED_ROLE
#error Define ZB_ED_ROLE to compile light switch (End Device) source code.
#endif

LOG_MODULE_REGISTER(app, LOG_LEVEL_INF);

struct bulb_context {
	zb_uint8_t endpoint;
	zb_uint16_t short_addr;
	struct k_timer find_alarm;
};

struct buttons_context {
	uint32_t state;
	atomic_t long_poll;
	struct k_timer alarm;
};

struct zb_device_ctx {
	zb_zcl_basic_attrs_t basic_attr;
	zb_zcl_identify_attrs_t identify_attr;
};

static struct bulb_context bulb_ctx;
static struct buttons_context buttons_ctx;
static struct zb_device_ctx dev_ctx;

/* Declare attribute list for Basic cluster (server). */
ZB_ZCL_DECLARE_BASIC_SERVER_ATTRIB_LIST(
	basic_server_attr_list,
	&dev_ctx.basic_attr.zcl_version,
	&dev_ctx.basic_attr.power_source);

/* Declare attribute list for Identify cluster (client). */
ZB_ZCL_DECLARE_IDENTIFY_CLIENT_ATTRIB_LIST(
	identify_client_attr_list);

/* Declare attribute list for Identify cluster (server). */
ZB_ZCL_DECLARE_IDENTIFY_SERVER_ATTRIB_LIST(
	identify_server_attr_list,
	&dev_ctx.identify_attr.identify_time);

/* Declare attribute list for Scenes cluster (client). */
ZB_ZCL_DECLARE_SCENES_CLIENT_ATTRIB_LIST(
	scenes_client_attr_list);

/* Declare attribute list for Groups cluster (client). */
ZB_ZCL_DECLARE_GROUPS_CLIENT_ATTRIB_LIST(
	groups_client_attr_list);

/* Declare attribute list for On/Off cluster (client). */
ZB_ZCL_DECLARE_ON_OFF_CLIENT_ATTRIB_LIST(
	on_off_client_attr_list);

/* Declare attribute list for Level control cluster (client). */
ZB_ZCL_DECLARE_LEVEL_CONTROL_CLIENT_ATTRIB_LIST(
	level_control_client_attr_list);

/* Declare cluster list for Dimmer Switch device. */
ZB_DECLARE_DIMMER_SWITCH_CLUSTER_LIST(
	dimmer_switch_clusters,
	basic_server_attr_list,
	identify_client_attr_list,
	identify_server_attr_list,
	scenes_client_attr_list,
	groups_client_attr_list,
	on_off_client_attr_list,
	level_control_client_attr_list);

/* Declare endpoint for Dimmer Switch device. */
ZB_DECLARE_DIMMER_SWITCH_EP(
	dimmer_switch_ep,
	LIGHT_SWITCH_ENDPOINT,
	dimmer_switch_clusters);

/* Declare application's device context (list of registered endpoints)
 * for Dimmer Switch device.
 */

ZBOSS_DECLARE_DEVICE_CTX_1_EP(dimmer_switch_ctx, dimmer_switch_ep);


/* Forward declarations. */
static void light_switch_button_handler(struct k_timer *timer);
static void find_light_bulb_alarm(struct k_timer *timer);
static void find_light_bulb(zb_bufid_t bufid);
static void light_switch_send_on_off(zb_bufid_t bufid, zb_uint16_t on_off);


/**@brief Starts identifying the device.
 *
 * @param  bufid  Unused parameter, required by ZBOSS scheduler API.
 */
static void start_identifying(zb_bufid_t bufid)
{
	ZVUNUSED(bufid);

	if (ZB_JOINED()) {
		/* Check if endpoint is in identifying mode,
		 * if not, put desired endpoint in identifying mode.
		 */
		if (dev_ctx.identify_attr.identify_time ==
		    ZB_ZCL_IDENTIFY_IDENTIFY_TIME_DEFAULT_VALUE) {

			zb_ret_t zb_err_code = zb_bdb_finding_binding_target(LIGHT_SWITCH_ENDPOINT);

			if (zb_err_code == RET_OK) {
				LOG_INF("Enter identify mode");
			} else if (zb_err_code == RET_INVALID_STATE) {
				LOG_WRN("RET_INVALID_STATE - Cannot enter identify mode");
			} else {
				ZB_ERROR_CHECK(zb_err_code);
			}
		} else {
			LOG_INF("Cancel identify mode");
			zb_bdb_finding_binding_target_cancel();
		}
	} else {
		LOG_WRN("Device not in a network - cannot enter identify mode");
	}
}

/**@brief Callback for button events.
 *
 * @param[in]   button_state  Bitmask containing buttons state.
 * @param[in]   has_changed   Bitmask containing buttons that has
 *                            changed their state.
 */
static void button_handler(uint32_t button_state, uint32_t has_changed)
{
	zb_uint16_t cmd_id;
	zb_ret_t zb_err_code;

	/* Inform default signal handler about user input at the device. */
	user_input_indicate();

	check_factory_reset_button(button_state, has_changed);

	if (bulb_ctx.short_addr == 0xFFFF) {
		LOG_DBG("No bulb found yet.");
		return;
	}

	switch (has_changed) {
	case BUTTON_ON:
		LOG_DBG("ON - button changed");
		cmd_id = ZB_ZCL_CMD_ON_OFF_ON_ID;
		break;
	case BUTTON_OFF:
		LOG_DBG("OFF - button changed");
		cmd_id = ZB_ZCL_CMD_ON_OFF_OFF_ID;
		break;
	case IDENTIFY_MODE_BUTTON:
		if (IDENTIFY_MODE_BUTTON & button_state) {
			/* Button changed its state to pressed */
		} else {
			/* Button changed its state to released */
			if (was_factory_reset_done()) {
				/* The long press was for Factory Reset */
				LOG_DBG("After Factory Reset - ignore button release");
			} else   {
				/* Button released before Factory Reset */

				/* Start identification mode */
				ZB_SCHEDULE_APP_CALLBACK(start_identifying, 0);
			}
		}
		return;
	default:
		LOG_DBG("Unhandled button");
		return;
	}

	switch (button_state) {
	case BUTTON_ON:
	case BUTTON_OFF:
		LOG_DBG("Button pressed");
		buttons_ctx.state = button_state;

		/* Alarm can be scheduled only once. Next alarm only resets
		 * counting.
		 */
		k_timer_start(&buttons_ctx.alarm, BUTTON_LONG_POLL_TMO,
			      K_NO_WAIT);
		break;
	case 0:
		LOG_DBG("Button released");

		k_timer_stop(&buttons_ctx.alarm);

		if (atomic_set(&buttons_ctx.long_poll, ZB_FALSE) == ZB_FALSE) {
			/* Allocate output buffer and send on/off command. */
			zb_err_code = zb_buf_get_out_delayed_ext(
				light_switch_send_on_off, cmd_id, 0);
			ZB_ERROR_CHECK(zb_err_code);
		}
		break;
	default:
		break;
	}
}

/**@brief Function for initializing LEDs and Buttons. */
static void configure_gpio(void)
{
	int err;

	err = dk_buttons_init(button_handler);
	if (err) {
		LOG_ERR("Cannot init buttons (err: %d)", err);
	}

	err = dk_leds_init();
	if (err) {
		LOG_ERR("Cannot init LEDs (err: %d)", err);
	}
}

static void alarm_timers_init(void)
{
	k_timer_init(&buttons_ctx.alarm, light_switch_button_handler, NULL);
	k_timer_init(&bulb_ctx.find_alarm, find_light_bulb_alarm, NULL);
}

/**@brief Function for initializing all clusters attributes. */
static void app_clusters_attr_init(void)
{
	/* Basic cluster attributes data. */
	dev_ctx.basic_attr.zcl_version = ZB_ZCL_VERSION;
	dev_ctx.basic_attr.power_source = ZB_ZCL_BASIC_POWER_SOURCE_UNKNOWN;

	/* Identify cluster attributes data. */
	dev_ctx.identify_attr.identify_time = ZB_ZCL_IDENTIFY_IDENTIFY_TIME_DEFAULT_VALUE;
}

/**@brief Function to toggle the identify LED.
 *
 * @param  bufid  Unused parameter, required by ZBOSS scheduler API.
 */
static void toggle_identify_led(zb_bufid_t bufid)
{
	static int blink_status;

	dk_set_led(IDENTIFY_LED, (++blink_status) % 2);
	ZB_SCHEDULE_APP_ALARM(toggle_identify_led, bufid, ZB_MILLISECONDS_TO_BEACON_INTERVAL(100));
}

/**@brief Function to handle identify notification events on the first endpoint.
 *
 * @param  bufid  Unused parameter, required by ZBOSS scheduler API.
 */
static void identify_cb(zb_bufid_t bufid)
{
	zb_ret_t zb_err_code;

	if (bufid) {
		/* Schedule a self-scheduling function that will toggle the LED. */
		ZB_SCHEDULE_APP_CALLBACK(toggle_identify_led, bufid);
	} else {
		/* Cancel the toggling function alarm and turn off LED. */
		zb_err_code = ZB_SCHEDULE_APP_ALARM_CANCEL(toggle_identify_led, ZB_ALARM_ANY_PARAM);
		ZVUNUSED(zb_err_code);

		/* Update network status/idenitfication LED. */
		if (ZB_JOINED()) {
			dk_set_led_on(ZIGBEE_NETWORK_STATE_LED);
		} else {
			dk_set_led_off(ZIGBEE_NETWORK_STATE_LED);
		}
	}
}

/**@brief Function for sending ON/OFF requests to the light bulb.
 *
 * @param[in]   bufid    Non-zero reference to Zigbee stack buffer that will be
 *                       used to construct on/off request.
 * @param[in]   cmd_id   ZCL command id.
 */
static void light_switch_send_on_off(zb_bufid_t bufid, zb_uint16_t cmd_id)
{
	LOG_INF("Send ON/OFF command: %d", cmd_id);

	ZB_ZCL_ON_OFF_SEND_REQ(bufid,
			       bulb_ctx.short_addr,
			       ZB_APS_ADDR_MODE_16_ENDP_PRESENT,
			       bulb_ctx.endpoint,
			       LIGHT_SWITCH_ENDPOINT,
			       ZB_AF_HA_PROFILE_ID,
			       ZB_ZCL_DISABLE_DEFAULT_RESPONSE,
			       cmd_id,
			       NULL);
}

/**@brief Function for sending step requests to the light bulb.
 *
 * @param[in]   bufid        Non-zero reference to Zigbee stack buffer that
 *                           will be used to construct step request.
 * @param[in]   cmd_id       ZCL command id.
 */
static void light_switch_send_step(zb_bufid_t bufid, zb_uint16_t cmd_id)
{
	LOG_INF("Send step level command: %d", cmd_id);

	ZB_ZCL_LEVEL_CONTROL_SEND_STEP_REQ(bufid,
					   bulb_ctx.short_addr,
					   ZB_APS_ADDR_MODE_16_ENDP_PRESENT,
					   bulb_ctx.endpoint,
					   LIGHT_SWITCH_ENDPOINT,
					   ZB_AF_HA_PROFILE_ID,
					   ZB_ZCL_DISABLE_DEFAULT_RESPONSE,
					   NULL,
					   cmd_id,
					   DIMM_STEP,
					   DIMM_TRANSACTION_TIME);
}

/**@brief Callback function receiving finding procedure results.
 *
 * @param[in]   bufid   Reference to Zigbee stack buffer used to pass
 *                      received data.
 */
static void find_light_bulb_cb(zb_bufid_t bufid)
{
	/* Get the beginning of the response. */
	zb_zdo_match_desc_resp_t *resp =
		(zb_zdo_match_desc_resp_t *) zb_buf_begin(bufid);
	/* Get the pointer to the parameters buffer, which stores APS layer
	 * response.
	 */
	zb_apsde_data_indication_t *ind = ZB_BUF_GET_PARAM(bufid,
							   zb_apsde_data_indication_t);
	zb_uint8_t *match_ep;

	if ((resp->status == ZB_ZDP_STATUS_SUCCESS) &&
	    (resp->match_len > 0) &&
	    (bulb_ctx.short_addr == 0xFFFF)) {

		/* Match EP list follows right after response header. */
		match_ep = (zb_uint8_t *)(resp + 1);

		/* We are searching for exact cluster, so only 1 EP
		 * may be found.
		 */
		bulb_ctx.endpoint = *match_ep;
		bulb_ctx.short_addr = ind->src_addr;

		LOG_INF("Found bulb addr: %d ep: %d",
			bulb_ctx.short_addr,
			bulb_ctx.endpoint);

		k_timer_stop(&bulb_ctx.find_alarm);
		dk_set_led_on(BULB_FOUND_LED);
	} else {
		LOG_INF("Bulb not found, try again");
	}

	if (bufid) {
		zb_buf_free(bufid);
	}
}

/**@brief Find bulb allarm handler.
 *
 * @param[in]   timer   Address of timer.
 */
static void find_light_bulb_alarm(struct k_timer *timer)
{
	ZB_ERROR_CHECK(zb_buf_get_out_delayed(find_light_bulb));
}

/**@brief Function for sending ON/OFF and Level Control find request.
 *
 * @param[in]   bufid   Reference to Zigbee stack buffer that will be used to
 *                      construct find request.
 */
static void find_light_bulb(zb_bufid_t bufid)
{
	zb_zdo_match_desc_param_t *req;
	zb_uint8_t tsn = ZB_ZDO_INVALID_TSN;

	/* Initialize pointers inside buffer and reserve space for
	 * zb_zdo_match_desc_param_t request.
	 */
	req = zb_buf_initial_alloc(bufid,
				   sizeof(zb_zdo_match_desc_param_t) + (1) * sizeof(zb_uint16_t));

	req->nwk_addr = MATCH_DESC_REQ_ROLE;
	req->addr_of_interest = MATCH_DESC_REQ_ROLE;
	req->profile_id = ZB_AF_HA_PROFILE_ID;

	/* We are searching for 2 clusters: On/Off and Level Control Server. */
	req->num_in_clusters = 2;
	req->num_out_clusters = 0;
	req->cluster_list[0] = ZB_ZCL_CLUSTER_ID_ON_OFF;
	req->cluster_list[1] = ZB_ZCL_CLUSTER_ID_LEVEL_CONTROL;

	/* Set 0xFFFF to reset short address in order to parse
	 * only one response.
	 */
	bulb_ctx.short_addr = 0xFFFF;
	tsn = zb_zdo_match_desc_req(bufid, find_light_bulb_cb);

	/* Free buffer if failed to send a request. */
	if (tsn == ZB_ZDO_INVALID_TSN) {
		zb_buf_free(bufid);

		LOG_ERR("Failed to send Match Descriptor request");
	}
}

/**@brief Callback for detecting button press duration.
 *
 * @param[in]   timer   Address of timer.
 */
static void light_switch_button_handler(struct k_timer *timer)
{
	zb_ret_t zb_err_code;
	zb_uint16_t cmd_id;

	if (dk_get_buttons() & buttons_ctx.state) {
		atomic_set(&buttons_ctx.long_poll, ZB_TRUE);
		if (buttons_ctx.state == BUTTON_ON) {
			cmd_id = ZB_ZCL_LEVEL_CONTROL_STEP_MODE_UP;
		} else {
			cmd_id = ZB_ZCL_LEVEL_CONTROL_STEP_MODE_DOWN;
		}

		/* Allocate output buffer and send step command. */
		zb_err_code = zb_buf_get_out_delayed_ext(light_switch_send_step,
							 cmd_id,
							 0);
		if (!zb_err_code) {
			LOG_WRN("Buffer is full");
		}

		k_timer_start(&buttons_ctx.alarm, BUTTON_LONG_POLL_TMO,
			      K_NO_WAIT);
	} else {
		atomic_set(&buttons_ctx.long_poll, ZB_FALSE);
	}
}


/**@brief Zigbee stack event handler.
 *
 * @param[in]   bufid   Reference to the Zigbee stack buffer
 *                      used to pass signal.
 */
void zboss_signal_handler(zb_bufid_t bufid)
{
	zb_zdo_app_signal_hdr_t *sig_hndler = NULL;
	zb_zdo_app_signal_type_t sig = zb_get_app_signal(bufid, &sig_hndler);
	zb_ret_t status = ZB_GET_APP_SIGNAL_STATUS(bufid);

	/* Update network status LED. */
	zigbee_led_status_update(bufid, ZIGBEE_NETWORK_STATE_LED);



	switch (sig) {
	case ZB_BDB_SIGNAL_DEVICE_REBOOT:
	/* fall-through */
	case ZB_BDB_SIGNAL_STEERING:
		/* Call default signal handler. */
		ZB_ERROR_CHECK(zigbee_default_signal_handler(bufid));
		if (status == RET_OK) {
			/* Check the light device address. */
			if (bulb_ctx.short_addr == 0xFFFF) {
				k_timer_start(&bulb_ctx.find_alarm,
					      MATCH_DESC_REQ_START_DELAY,
					      MATCH_DESC_REQ_TIMEOUT);
			}
		}
		break;
	case ZB_ZDO_SIGNAL_LEAVE:
		/* If device leaves the network, reset bulb short_addr. */
		if (status == RET_OK) {
			zb_zdo_signal_leave_params_t *leave_params =
				ZB_ZDO_SIGNAL_GET_PARAMS(sig_hndler, zb_zdo_signal_leave_params_t);

			if (leave_params->leave_type == ZB_NWK_LEAVE_TYPE_RESET) {
				bulb_ctx.short_addr = 0xFFFF;
			}
		}
		/* Call default signal handler. */
		ZB_ERROR_CHECK(zigbee_default_signal_handler(bufid));
		break;

	default:
		/* Call default signal handler. */
		ZB_ERROR_CHECK(zigbee_default_signal_handler(bufid));
		break;
	}

	if (bufid) {
		zb_buf_free(bufid);
	}
}



int k_zigbee(void)
{
	LOG_INF("Starting ZBOSS Light Switch example");

	/* Initialize. */
	configure_gpio();
	alarm_timers_init();
	register_factory_reset_button(FACTORY_RESET_BUTTON);

	zigbee_erase_persistent_storage(ERASE_PERSISTENT_CONFIG);
	zb_set_ed_timeout(ED_AGING_TIMEOUT_64MIN);
	zb_set_keepalive_timeout(ZB_MILLISECONDS_TO_BEACON_INTERVAL(3000));

	/* Set default bulb short_addr. */
	bulb_ctx.short_addr = 0xFFFF;

	/* If "sleepy button" is defined, check its state during Zigbee
	 * initialization and enable sleepy behavior at device if defined button
	 * is pressed.
	 */


	/* Power off unused sections of RAM to lower device power consumption. */
	if (IS_ENABLED(CONFIG_RAM_POWER_DOWN_LIBRARY)) {
		power_down_unused_ram();
	}

	/* Register dimmer switch device context (endpoints). */
	ZB_AF_REGISTER_DEVICE_CTX(&dimmer_switch_ctx);

	app_clusters_attr_init();

	/* Register handlers to identify notifications */
	ZB_AF_SET_IDENTIFY_NOTIFICATION_HANDLER(LIGHT_SWITCH_ENDPOINT, identify_cb);


	/* Start Zigbee default thread. */
	zigbee_enable();



	LOG_INF("ZBOSS Light Switch example started");

	while (1) {
    k_sleep(K_FOREVER);
	}
}
```
